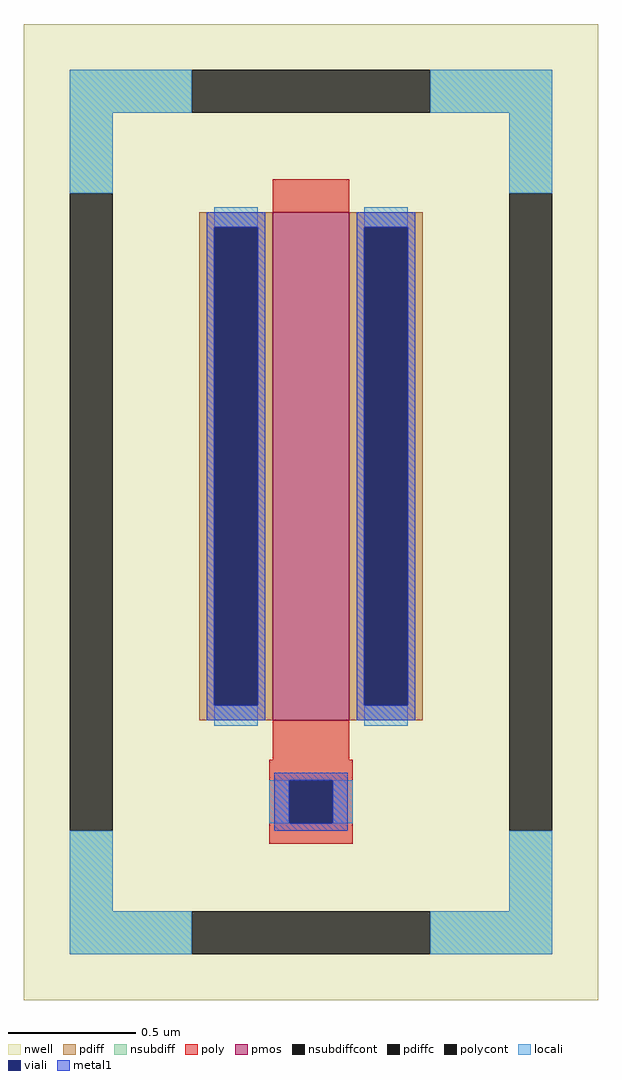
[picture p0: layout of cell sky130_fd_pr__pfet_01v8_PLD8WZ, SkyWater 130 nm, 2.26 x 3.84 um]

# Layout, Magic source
magic
tech sky130A
magscale 1 2
<< nwell >>
rect -226 -384 226 384
<< pmos >>
rect -30 -164 30 236
<< pdiff >>
rect -88 224 -30 236
rect -88 -152 -76 224
rect -42 -152 -30 224
rect -88 -164 -30 -152
rect 30 224 88 236
rect 30 -152 42 224
rect 76 -152 88 224
rect 30 -164 88 -152
<< pdiffc >>
rect -76 -152 -42 224
rect 42 -152 76 224
<< nsubdiff >>
rect -190 314 -94 348
rect 94 314 190 348
rect -190 251 -156 314
rect 156 251 190 314
rect -190 -314 -156 -251
rect 156 -314 190 -251
rect -190 -348 -94 -314
rect 94 -348 190 -314
<< nsubdiffcont >>
rect -94 314 94 348
rect -190 -251 -156 251
rect 156 -251 190 251
rect -94 -348 94 -314
<< poly >>
rect -30 236 30 262
rect -30 -195 30 -164
rect -33 -211 33 -195
rect -33 -245 -17 -211
rect 17 -245 33 -211
rect -33 -261 33 -245
<< polycont >>
rect -17 -245 17 -211
<< locali >>
rect -190 314 -94 348
rect 94 314 190 348
rect -190 251 -156 314
rect 156 251 190 314
rect -76 224 -42 240
rect -76 -168 -42 -152
rect 42 224 76 240
rect 42 -168 76 -152
rect -33 -245 -17 -211
rect 17 -245 33 -211
rect -190 -314 -156 -251
rect 156 -314 190 -251
rect -190 -348 -94 -314
rect 94 -348 190 -314
<< viali >>
rect -76 -152 -42 224
rect 42 -152 76 224
rect -17 -245 17 -211
<< metal1 >>
rect -82 224 -36 236
rect -82 -152 -76 224
rect -42 -152 -36 224
rect -82 -164 -36 -152
rect 36 224 82 236
rect 36 -152 42 224
rect 76 -152 82 224
rect 36 -164 82 -152
rect -29 -211 29 -205
rect -29 -245 -17 -211
rect 17 -245 29 -211
rect -29 -251 29 -245
<< properties >>
string FIXED_BBOX -173 -331 173 331
string gencell sky130_fd_pr__pfet_01v8
string library sky130
string parameters w 2.0 l 0.3 m 1 nf 1 diffcov 100 polycov 100 guard 1 glc 1 grc 1 gtc 1 gbc 1 tbcov 100 rlcov 100 topc 0 botc 1 poverlap 0 doverlap 1 lmin 0.15 wmin 0.42 compatible {sky130_fd_pr__pfet_01v8  sky130_fd_pr__pfet_01v8_lvt sky130_fd_pr__pfet_01v8_hvt  sky130_fd_pr__pfet_g5v0d10v5} full_metal 1 viasrc 100 viadrn 100 viagate 100 viagb 0 viagr 0 viagl 0 viagt 0
<< end >>
